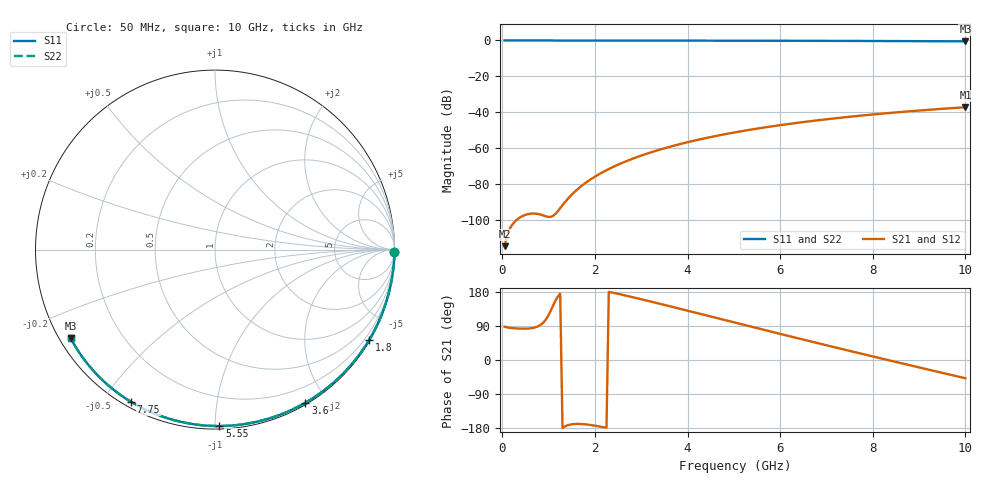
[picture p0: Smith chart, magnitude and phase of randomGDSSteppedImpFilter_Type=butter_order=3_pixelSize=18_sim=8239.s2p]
! freq	dB(S11)	phase(S11)	dB(S12)	phase(S12)
!  dB(S21)	phase(S21)	dB(S22)	phase(S22)
!S-par simulation data
#  GHz  S  DB  R 50
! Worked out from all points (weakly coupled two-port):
!   200 points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, 50 MHz to 10 GHz, reference 50 ohm
!   highest |S21| = -37.23 dB at 10 GHz (marker M1); lowest = -114.7 dB at 50 MHz (marker M2)
!   lowest |S11| = -0.5 dB at 10 GHz (marker M3), VSWR 34.60, Z = 1.56 - j14.1 ohm
!   |S11| at or under -10 dB: nowhere
!   |S22| runs from -0.5 to 0.0 dB; largest |S21 - S12| = 0
!   S11 on the Smith chart (normalised r, x): 50 MHz: open; 1.8 GHz: 0.03, -3.67; 3.6 GHz: 0.02, -1.75; 5.55 GHz: 0.02, -1.03; 7.75 GHz: 0.02, -0.59; 10 GHz: 0.03, -0.28
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0.05  -0.00 -0.9  -114.68 87.9  -114.68 87.9  -0.00 -0.9
0.45  -0.01 -7.7  -97.72 82.7  -97.72 82.7  -0.01 -7.7
0.9  -0.02 -15.4  -97.69 100.5  -97.69 100.5  -0.02 -15.4
1.3  -0.03 -22.2  -91.83 -179.4  -91.83 -179.4  -0.03 -22.2
1.75  -0.04 -29.7  -80.31 -169.4  -80.31 -169.4  -0.04 -29.7
1.8  -0.04 -30.5  -79.35 -169.9  -79.35 -169.9  -0.04 -30.5
1.95  -0.04 -33.0  -76.73 -172.3  -76.73 -172.3  -0.04 -33.0
2.1  -0.05 -35.5  -74.41 -175.4  -74.41 -175.4  -0.05 -35.5
2.3  -0.05 -38.7  -71.67 179.8  -71.67 179.8  -0.05 -38.7
2.5  -0.05 -42.0  -69.24 174.6  -69.24 174.6  -0.05 -42.0
2.9  -0.06 -48.4  -65.10 163.3  -65.10 163.3  -0.06 -48.4
3.4  -0.08 -56.4  -60.86 148.5  -60.86 148.5  -0.08 -56.4
3.6  -0.08 -59.5  -59.39 142.4  -59.39 142.4  -0.08 -59.5
4.3  -0.10 -70.2  -54.95 121.0  -54.95 121.0  -0.10 -70.2
5.05  -0.13 -81.3  -51.11 97.9  -51.11 97.9  -0.13 -81.3
5.55  -0.15 -88.6  -48.95 82.6  -48.95 82.6  -0.15 -88.6
6.1  -0.17 -96.3  -46.85 65.9  -46.85 65.9  -0.17 -96.3
6.7  -0.20 -104.6  -44.84 47.8  -44.84 47.8  -0.20 -104.6
7.75  -0.28 -118.8  -41.88 16.7  -41.88 16.7  -0.28 -118.8
8.35  -0.33 -126.7  -40.44 -0.8  -40.44 -0.8  -0.33 -126.7
9.2  -0.41 -137.9  -38.67 -25.3  -38.67 -25.3  -0.41 -137.9
10  -0.50 -148.5  -37.23 -48.1  -37.23 -48.1  -0.50 -148.5
